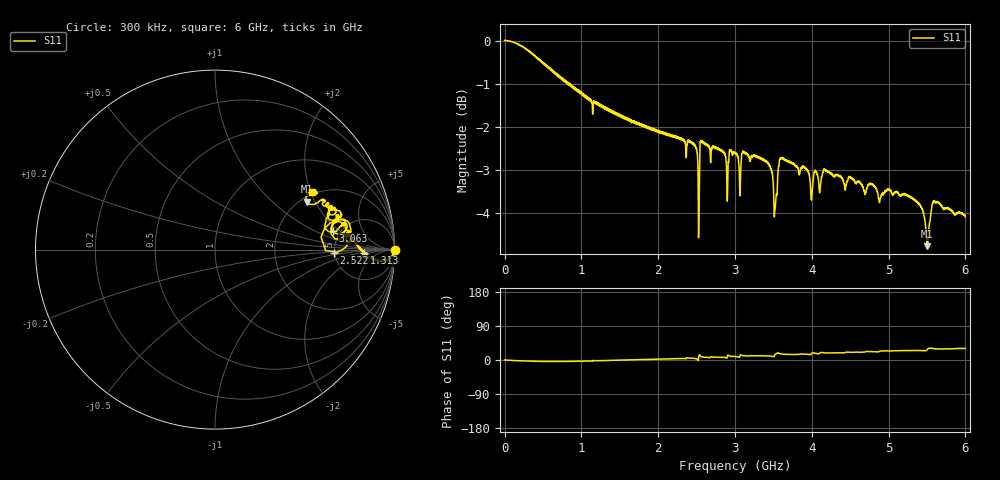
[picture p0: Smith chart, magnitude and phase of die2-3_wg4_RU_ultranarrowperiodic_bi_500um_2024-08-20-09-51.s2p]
!Keysight Technologies,P9374A,MY57304198,A.17.20.09
!Date: Tuesday, August 20, 2024 09:51:49
!Correction: S11(C  1-Port  )
!S21(C  1-Port  )
!S12(Off)
!S22(Off)
!S2P File: Measurements: S11, S21, S12, S22:
# Hz S  dB  R 50
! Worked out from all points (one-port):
!   6000 points, 300 kHz to 6 GHz, reference 50 ohm
!   lowest |S11| = -4.8 dB at 5.504 GHz (marker M1), VSWR 3.73, Z = 108 + j86.3 ohm
!   |S11| at or under -10 dB: nowhere
!   S11 on the Smith chart (normalised r, x): 300 kHz: open; 1.313 GHz: 11, -1; 2.522 GHz: 4.92, -0.32; 3.063 GHz: 4.32, +1.60; 6 GHz: 1.93, +2.02
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300000  0.00 -0.0  -200.00 45.0  -200.00 45.0  -200.00 45.0
4.143483e8  -0.38 -3.4  -200.00 45.0  -200.00 45.0  -200.00 45.0
1.000417e9  -1.21 -3.1  -200.00 45.0  -200.00 45.0  -200.00 45.0
1.313453e9  -1.60 -1.4  -200.00 45.0  -200.00 45.0  -200.00 45.0
2.000533e9  -2.09 2.5  -200.00 45.0  -200.00 45.0  -200.00 45.0
2.458587e9  -2.42 4.5  -200.00 45.0  -200.00 45.0  -200.00 45.0
2.496591e9  -2.50 3.4  -200.00 45.0  -200.00 45.0  -200.00 45.0
2.521594e9  -3.57 -1.6  -200.00 45.0  -200.00 45.0  -200.00 45.0
2.556598e9  -2.32 9.1  -200.00 45.0  -200.00 45.0  -200.00 45.0
2.580601e9  -2.36 7.7  -200.00 45.0  -200.00 45.0  -200.00 45.0
2.896638e9  -3.58 5.8  -200.00 45.0  -200.00 45.0  -200.00 45.0
3.00065e9  -2.63 9.3  -200.00 45.0  -200.00 45.0  -200.00 45.0
3.062657e9  -3.56 9.0  -200.00 45.0  -200.00 45.0  -200.00 45.0
3.484707e9  -3.08 9.9  -200.00 45.0  -200.00 45.0  -200.00 45.0
3.530712e9  -3.71 16.1  -200.00 45.0  -200.00 45.0  -200.00 45.0
3.574717e9  -2.87 17.6  -200.00 45.0  -200.00 45.0  -200.00 45.0
4.000767e9  -3.60 18.0  -200.00 45.0  -200.00 45.0  -200.00 45.0
5.000883e9  -3.45 23.9  -200.00 45.0  -200.00 45.0  -200.00 45.0
5.413932e9  -3.84 25.0  -200.00 45.0  -200.00 45.0  -200.00 45.0
5.503942e9  -4.77 27.5  -200.00 45.0  -200.00 45.0  -200.00 45.0
5.565949e9  -3.82 31.1  -200.00 45.0  -200.00 45.0  -200.00 45.0
6e9  -4.09 30.6  -200.00 45.0  -200.00 45.0  -200.00 45.0
